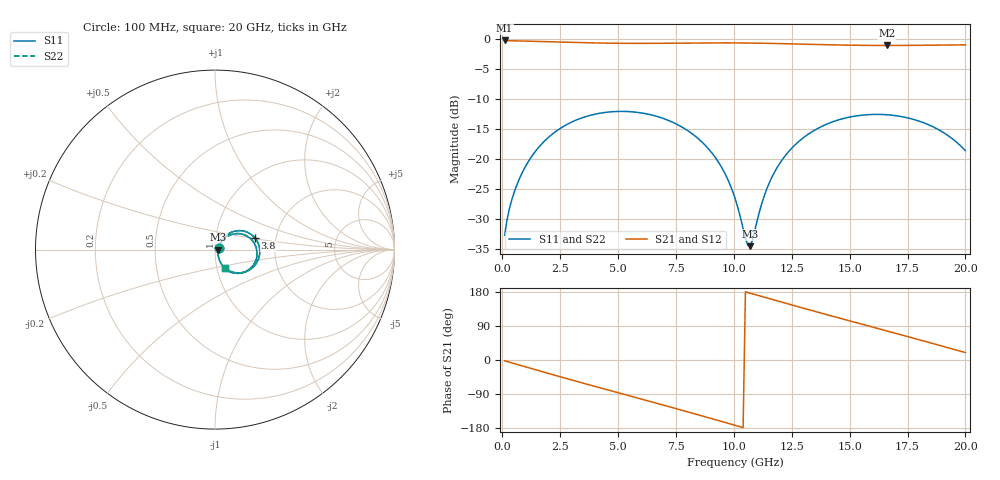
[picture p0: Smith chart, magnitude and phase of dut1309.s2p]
! Touchstone file exported from HFSS 2026.1.0
!  File:  C:/ffzhzh/LocalFiles/Ansys_Project_Files/temp_train_TSV_RDL_1309_1783335029_39728.aedt
!  Generated:  06:59:47 PM Jul  6, 2026
!  Design:  TSV_RDL
!  Project:  temp_train_TSV_RDL_1309_1783335029_39728
! Variables:
!  h_bsmrdl = 4um
!  h_ox = 20um
!  h_rdl = 5um
!  h_sub = 50.3um
!  h_tmrdl = 3.78um
!  h_tsv = 50.3um
!  h_via = 3um
!  l_bsmrdl = 770.67um
!  l_sub = 6175.33um
!  l_tmrdl = 823.98um
!  m_sub = 200um
!  pitch = 38.8um
!  r_tsv = 10.6um
!  s_tmrdl = 10um
!  w_bsmrdl = 25.85um
!  w_sub = 500um
!  w_tmrdl = 29.95um
!  x_tsv_center1 = 838.955um
!  x_tsv_center2 = 1635.475um
!  x_tsv_center3 = 2489.405um
!  x_tsv_center4 = 3285.925um
!  x_tsv_center5 = 4139.855um
!  x_tsv_center6 = 4936.375um
# GHz S MA R 50.000000
! Terminal data exported
! Port[1] = TM_RDL1_1_T1
! Port[2] = TM_RDL5_1_T1
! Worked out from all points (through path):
!   200 points, 100 MHz to 20 GHz, reference 50 ohm
!   highest |S21| = -0.18 dB at 100 MHz (marker M1); lowest = -1.0 dB at 16.6 GHz (marker M2)
!   group delay of S21, straight-line fit = 47.2 ps
!   lowest |S11| = -34.6 dB at 10.7 GHz (marker M3), VSWR 1.04, Z = 51.9 - j0.0244 ohm
!   |S11| at or under -10 dB: start of sweep to end of sweep
!   |S22| runs from -34.7 to -12.0 dB; largest |S21 - S12| = 1.7e-14
!   S11 on the Smith chart (normalised r, x): 100 MHz: 1.04, +0.02; 3.8 GHz: 1.56, +0.21; 20 GHz: 1.09, -0.23
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0.1  0.02301 27.7  0.9799 -2.0  0.9799 -2.0  0.02301 27.7
! Gamma 0 0 0 0
! Port Impedance 50 0 50 0
0.5  0.05183 50.0  0.9725 -9.2  0.9725 -9.2  0.05183 50.0
1.2  0.1004 51.3  0.9655 -21.6  0.9655 -21.6  0.1004 51.3
2.2  0.1638 40.0  0.9543 -39.1  0.9543 -39.1  0.1638 40.0
3.5  0.2228 20.7  0.9391 -61.3  0.9391 -61.3  0.2228 20.7
3.8  0.2319 16.1  0.9361 -66.3  0.9361 -66.3  0.2319 16.1
5.3  0.2499 -7.1  0.9271 -91.3  0.9271 -91.3  0.2499 -7.1
6.8  0.2234 -30.3  0.9278 -116.4  0.9278 -116.4  0.2234 -30.3
8.9  0.1219 -60.5  0.9348 -152.3  0.9348 -152.3  0.1219 -60.5
9.6  0.07674 -66.9  0.9354 -164.4  0.9354 -164.4  0.07675 -67.0
10.1  0.04384 -64.2  0.9346 -173.1  0.9346 -173.1  0.0438 -64.5
10.5  0.02174 -37.5  0.9333 179.9  0.9333 179.9  0.02157 -38.0
10.7  0.01868 -0.7  0.9323 176.4  0.9323 176.4  0.01841 -0.8
11.3  0.04835 48.5  0.9286 166.0  0.9286 166.0  0.04817 48.8
11.8  0.08042 49.5  0.9245 157.3  0.9245 157.3  0.08028 49.7
12.5  0.1231 42.7  0.9177 145.3  0.9177 145.3  0.123 42.9
13.4  0.1702 30.7  0.9084 130.0  0.9084 130.0  0.1701 30.9
15  0.2241 7.3  0.8948 103.3  0.8948 103.3  0.224 7.5
16.6  0.2345 -16.4  0.8897 76.8  0.8897 76.8  0.2345 -16.2
16.7  0.2337 -17.9  0.8897 75.2  0.8897 75.2  0.2336 -17.7
18.3  0.1973 -41.2  0.8937 48.5  0.8937 48.5  0.1973 -41.0
20  0.1175 -62.8  0.9004 19.6  0.9004 19.6  0.1176 -62.3
